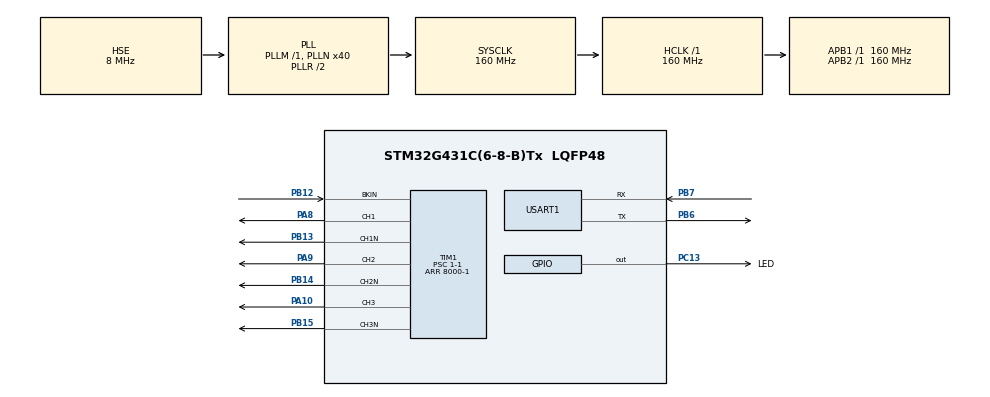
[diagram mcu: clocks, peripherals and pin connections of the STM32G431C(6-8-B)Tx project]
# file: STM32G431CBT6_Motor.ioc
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Dma.Request0=USART1_TX
Dma.USART1_TX.0.Direction=DMA_MEMORY_TO_PERIPH
Dma.USART1_TX.0.EventEnable=DISABLE
Dma.USART1_TX.0.Instance=DMA1_Channel1
Dma.USART1_TX.0.MemDataAlignment=DMA_MDATAALIGN_BYTE
Dma.USART1_TX.0.MemInc=DMA_MINC_ENABLE
Dma.USART1_TX.0.Mode=DMA_NORMAL
Dma.USART1_TX.0.PeriphDataAlignment=DMA_PDATAALIGN_BYTE
Dma.USART1_TX.0.PeriphInc=DMA_PINC_DISABLE
Dma.USART1_TX.0.Polarity=HAL_DMAMUX_REQ_GEN_RISING
Dma.USART1_TX.0.Priority=DMA_PRIORITY_LOW
Dma.USART1_TX.0.RequestNumber=1
Dma.USART1_TX.0.SignalID=NONE
Dma.USART1_TX.0.SyncEnable=DISABLE
Dma.USART1_TX.0.SyncPolarity=HAL_DMAMUX_SYNC_NO_EVENT
Dma.USART1_TX.0.SyncRequestNumber=1
Dma.USART1_TX.0.SyncSignalID=NONE
Mcu.Family=STM32G4
Mcu.Name=STM32G431C(6-8-B)Tx
Mcu.Package=LQFP48
NVIC.DMA1_Channel1_IRQn=true\:0\:0\:false\:false\:true\:false\:true\:true
NVIC.PriorityGroup=NVIC_PRIORITYGROUP_4
NVIC.TIM6_DAC_IRQn=true\:0\:0\:false\:false\:true\:true\:true\:true
NVIC.USART1_IRQn=true\:0\:0\:false\:false\:true\:false\:true\:true
PA10.Signal=S_TIM1_CH3
PA13.Mode=Serial_Wire
PA13.Signal=SYS_JTMS-SWDIO
PA14.Mode=Serial_Wire
PA14.Signal=SYS_JTCK-SWCLK
PA8.Signal=S_TIM1_CH1
PA9.Signal=S_TIM1_CH2
PB12.GPIO_PuPd=GPIO_PULLUP
PB12.Mode=Activate-Break-Input
PB12.Signal=TIM1_BKIN
PB13.Mode=PWM Generation1 CH1 CH1N
PB13.Signal=TIM1_CH1N
PB14.Mode=PWM Generation2 CH2 CH2N
PB14.Signal=TIM1_CH2N
PB15.Mode=PWM Generation3 CH3 CH3N
PB15.Signal=TIM1_CH3N
PB6.Mode=Asynchronous
PB6.Signal=USART1_TX
PB7.Mode=Asynchronous
PB7.Signal=USART1_RX
PC13.GPIO_Label=LED
PC13.GPIO_ModeDefaultOutputPP=GPIO_MODE_OUTPUT_PP
PC13.GPIO_PuPd=GPIO_PULLUP
PC13.PinState=GPIO_PIN_SET
PC13.Signal=GPIO_Output
PF0-OSC_IN.Mode=HSE-External-Oscillator
PF0-OSC_IN.Signal=RCC_OSC_IN
PF1-OSC_OUT.Mode=HSE-External-Oscillator
PF1-OSC_OUT.Signal=RCC_OSC_OUT
ProjectManager.HeapSize=0x400
ProjectManager.StackSize=0x400
ProjectManager.TargetToolchain=STM32CubeIDE
RCC.ADC12Freq_Value=160000000
RCC.AHBFreq_Value=160000000
RCC.APB1Freq_Value=160000000
RCC.APB1TimFreq_Value=160000000
RCC.APB2Freq_Value=160000000
RCC.APB2TimFreq_Value=160000000
RCC.CortexFreq_Value=160000000
RCC.EXTERNAL_CLOCK_VALUE=12288000
RCC.HCLKFreq_Value=160000000
RCC.HSE_VALUE=8000000
RCC.HSI48_VALUE=48000000
RCC.HSI_VALUE=16000000
RCC.LSE_VALUE=32768
RCC.PLLN=40
RCC.PLLSourceVirtual=RCC_PLLSOURCE_HSE
RCC.SYSCLKFreq_VALUE=160000000
RCC.SYSCLKSource=RCC_SYSCLKSOURCE_PLLCLK
RCC.USBFreq_Value=160000000
RCC.VCOOutputFreq_Value=320000000
SH.S_TIM1_CH1.0=TIM1_CH1,PWM Generation1 CH1 CH1N
SH.S_TIM1_CH2.0=TIM1_CH2,PWM Generation2 CH2 CH2N
SH.S_TIM1_CH3.0=TIM1_CH3,PWM Generation3 CH3 CH3N
TIM1.AutoReloadPreload=TIM_AUTORELOAD_PRELOAD_ENABLE
TIM1.AutomaticOutput=TIM_AUTOMATICOUTPUT_ENABLE
TIM1.BreakFilter=10
TIM1.BreakPolarity=TIM_BREAKPOLARITY_LOW
TIM1.Channel-PWM\ Generation1\ CH1\ CH1N=TIM_CHANNEL_1
TIM1.Channel-PWM\ Generation2\ CH2\ CH2N=TIM_CHANNEL_2
TIM1.Channel-PWM\ Generation3\ CH3\ CH3N=TIM_CHANNEL_3
TIM1.Channel-PWM\ Generation4\ No\ Output=TIM_CHANNEL_4
TIM1.CounterMode=TIM_COUNTERMODE_CENTERALIGNED1
TIM1.DeadTime=100
TIM1.OffStateIDLEMode=TIM_OSSI_ENABLE
TIM1.OffStateRunMode=TIM_OSSR_ENABLE
TIM1.PeriodNoDither=8000-1
TIM1.Prescaler=1-1
TIM1.PulseNoDither_1=4000-1
TIM1.PulseNoDither_2=4000-1
TIM1.PulseNoDither_3=4000-1
TIM1.TIM_MasterOutputTrigger=TIM_TRGO_OC4REF
TIM6.AutoReloadPreload=TIM_AUTORELOAD_PRELOAD_ENABLE
TIM6.PeriodNoDither=100-1
TIM6.Prescaler=160-1
USART1.DMADisableonRxErrorParam=ADVFEATURE_DMA_DISABLEONRXERROR
USART1.OverrunDisableParam=ADVFEATURE_OVERRUN_DISABLE
USART1.VirtualMode-Asynchronous=VM_ASYNC
VP_SYS_VS_DBSignals.Mode=DisableDeadBatterySignals
VP_TIM1_VS_ClockSourceINT.Mode=Internal
VP_TIM1_VS_no_output4.Mode=PWM Generation4 No Output
VP_TIM6_VS_ClockSourceINT.Mode=Enable_Timer
board=custom

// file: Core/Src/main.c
/* USER CODE BEGIN Header */
/**
  ******************************************************************************
  * @file           : main.c
  * @brief          : Main program body
  ******************************************************************************
  * @attention
  *
  * Copyright (c) 2026 STMicroelectronics.
  * All rights reserved.
  *
  * This software is licensed under terms that can be found in the LICENSE file
  * in the root directory of this software component.
  * If no LICENSE file comes with this software, it is provided AS-IS.
  *
  ******************************************************************************
  */
/* USER CODE END Header */
#include "main.h"
#include "dma.h"
#include "tim.h"
#include "usart.h"
#include "gpio.h"

/* USER CODE BEGIN Includes */
#include "debug.h"
/* USER CODE END Includes */

void SystemClock_Config(void);

/* USER CODE BEGIN 0 */
void Motor_SetDuty(uint16_t duty)
{
  if(duty > 7999) duty = 7999;
  __HAL_TIM_SET_COMPARE(&htim1, TIM_CHANNEL_1, duty);
  __HAL_TIM_SET_COMPARE(&htim1, TIM_CHANNEL_2, duty);
  __HAL_TIM_SET_COMPARE(&htim1, TIM_CHANNEL_3, duty);
}
void Motor_CheckBreak(void)
{
  if(__HAL_TIM_GET_FLAG(&htim1, TIM_FLAG_BREAK) != RESET)
  {
    if(HAL_GPIO_ReadPin(GPIOB, GPIO_PIN_12) == GPIO_PIN_SET)
    {
      __HAL_TIM_CLEAR_FLAG(&htim1, TIM_FLAG_BREAK);

      HAL_TIM_PWM_Start(&htim1, TIM_CHANNEL_1);
      HAL_TIMEx_PWMN_Start(&htim1, TIM_CHANNEL_1);
      HAL_TIM_PWM_Start(&htim1, TIM_CHANNEL_2);
      HAL_TIMEx_PWMN_Start(&htim1, TIM_CHANNEL_2);
      HAL_TIM_PWM_Start(&htim1, TIM_CHANNEL_3);
      HAL_TIMEx_PWMN_Start(&htim1, TIM_CHANNEL_3);

      debug("Break Release!\r\n");
    }
  }
}
/* USER CODE END 0 */

int main(void)
{

  /* MCU Configuration--------------------------------------------------------*/

  /* Reset of all peripherals, Initializes the Flash interface and the Systick. */
  HAL_Init();

  /* Configure the system clock */
  SystemClock_Config();

  /* Initialize all configured peripherals */
  MX_GPIO_Init();
  MX_DMA_Init();
  MX_TIM6_Init();
  MX_USART1_UART_Init();
  MX_TIM1_Init();
  /* USER CODE BEGIN 2 */
  HAL_TIM_Base_Start_IT(&htim6);
  HAL_TIM_Base_Start(&htim1);
  HAL_TIM_PWM_Start(&htim1, TIM_CHANNEL_1);
  HAL_TIMEx_PWMN_Start(&htim1, TIM_CHANNEL_1);
  HAL_TIM_PWM_Start(&htim1, TIM_CHANNEL_2);
  HAL_TIMEx_PWMN_Start(&htim1, TIM_CHANNEL_2);
  HAL_TIM_PWM_Start(&htim1, TIM_CHANNEL_3);
  HAL_TIMEx_PWMN_Start(&htim1, TIM_CHANNEL_3);

  /* USER CODE END 2 */

  /* Infinite loop */
  /* USER CODE BEGIN WHILE */
  while (1)
  {
#if 0
    static float x = 0.0f;
    x += 0.01f;
    debug("Current x = %.2f\t\n", x);
    HAL_Delay(100);
#endif

    static uint16_t pwm_duty = 4000;
    Motor_CheckBreak();
    Motor_SetDuty(pwm_duty);
    HAL_Delay(50);
    /* USER CODE END WHILE */

  }
}

void SystemClock_Config(void)
{
  RCC_OscInitTypeDef RCC_OscInitStruct = {0};
  RCC_ClkInitTypeDef RCC_ClkInitStruct = {0};

  /** Configure the main internal regulator output voltage
  */
  HAL_PWREx_ControlVoltageScaling(PWR_REGULATOR_VOLTAGE_SCALE1_BOOST);

  /** Initializes the RCC Oscillators according to the specified parameters
  * in the RCC_OscInitTypeDef structure.
  */
  RCC_OscInitStruct.OscillatorType = RCC_OSCILLATORTYPE_HSE;
  RCC_OscInitStruct.HSEState = RCC_HSE_ON;
  RCC_OscInitStruct.PLL.PLLState = RCC_PLL_ON;
  RCC_OscInitStruct.PLL.PLLSource = RCC_PLLSOURCE_HSE;
  RCC_OscInitStruct.PLL.PLLM = RCC_PLLM_DIV1;
  RCC_OscInitStruct.PLL.PLLN = 40;
  RCC_OscInitStruct.PLL.PLLP = RCC_PLLP_DIV2;
  RCC_OscInitStruct.PLL.PLLQ = RCC_PLLQ_DIV2;
  RCC_OscInitStruct.PLL.PLLR = RCC_PLLR_DIV2;
  if (HAL_RCC_OscConfig(&RCC_OscInitStruct) != HAL_OK)
  {
    Error_Handler();
  }

  /** Initializes the CPU, AHB and APB buses clocks
  */
  RCC_ClkInitStruct.ClockType = RCC_CLOCKTYPE_HCLK|RCC_CLOCKTYPE_SYSCLK
                              |RCC_CLOCKTYPE_PCLK1|RCC_CLOCKTYPE_PCLK2;
  RCC_ClkInitStruct.SYSCLKSource = RCC_SYSCLKSOURCE_PLLCLK;
  RCC_ClkInitStruct.AHBCLKDivider = RCC_SYSCLK_DIV1;
  RCC_ClkInitStruct.APB1CLKDivider = RCC_HCLK_DIV1;
  RCC_ClkInitStruct.APB2CLKDivider = RCC_HCLK_DIV1;

  if (HAL_RCC_ClockConfig(&RCC_ClkInitStruct, FLASH_LATENCY_4) != HAL_OK)
  {
    Error_Handler();
  }
}

void Error_Handler(void)
{
  __disable_irq();
  while (1)
  {
  }
}
